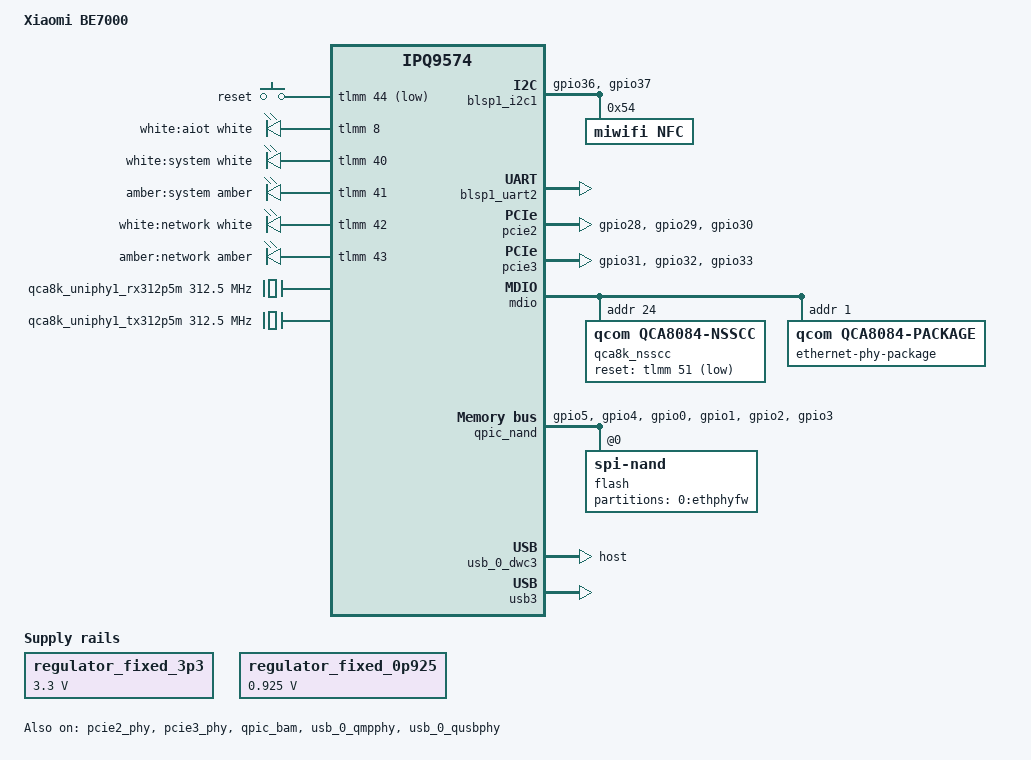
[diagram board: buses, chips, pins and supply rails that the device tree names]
// SPDX-License-Identifier: (GPL-2.0+ OR BSD-3-Clause)

/dts-v1/;


#include <dt-bindings/gpio/gpio.h>
#include <dt-bindings/input/input.h>
#include <dt-bindings/leds/common.h>
#include "ipq9574.dtsi"

#include <dt-bindings/clock/qcom,qca8k-nsscc.h>
#include <dt-bindings/net/qcom,qca808x.h>
#include <dt-bindings/reset/qcom,qca8k-nsscc.h>

/ {
	model = "Xiaomi BE7000";
	compatible = "xiaomi,be7000", "qcom,ipq9574";

	aliases {
		led-boot = &led_system_white;
		led-failsafe = &led_system_amber;
		led-running = &led_system_white;
		led-upgrade = &led_system_amber;

		serial0 = &blsp1_uart2;
	};

	chosen {
		stdout-path = "serial0:115200n8";
	};

	regulator_fixed_3p3: s3300 {
		compatible = "regulator-fixed";
		regulator-min-microvolt = <3300000>;
		regulator-max-microvolt = <3300000>;
		regulator-boot-on;
		regulator-always-on;
		regulator-name = "fixed_3p3";
	};

	regulator_fixed_0p925: s0925 {
		compatible = "regulator-fixed";
		regulator-min-microvolt = <925000>;
		regulator-max-microvolt = <925000>;
		regulator-boot-on;
		regulator-always-on;
		regulator-name = "fixed_0p925";
	};

	gpio-keys {
		compatible = "gpio-keys";
		pinctrl-0 = <&gpio_keys_default>;
		pinctrl-names = "default";

		reset {
			label = "reset";
			linux,code = <KEY_RESTART>;
			gpios = <&tlmm 44 GPIO_ACTIVE_LOW>;
			linux,input-type = <EV_KEY>;
			debounce-interval = <60>;
		};
	};

	leds {
		compatible = "gpio-leds";
		pinctrl-0 = <&gpio_leds_default>;
		pinctrl-names = "default";

		aiot-white {
			label = "white:aiot";
			color = <LED_COLOR_ID_WHITE>;
			gpios = <&tlmm 8 GPIO_ACTIVE_HIGH>;
			default-state = "off";
		};

		led_system_white: system-white {
			label = "white:system";
			color = <LED_COLOR_ID_WHITE>;
			gpios = <&tlmm 40 GPIO_ACTIVE_HIGH>;
			default-state = "off";
		};

		led_system_amber: system-amber {
			label = "amber:system";
			color = <LED_COLOR_ID_AMBER>;
			gpios = <&tlmm 41 GPIO_ACTIVE_HIGH>;
			default-state = "off";
		};

		network-white {
			label = "white:network";
			color = <LED_COLOR_ID_WHITE>;
			gpios = <&tlmm 42 GPIO_ACTIVE_HIGH>;
			default-state = "off";
		};

		network-amber {
			label = "amber:network";
			color = <LED_COLOR_ID_AMBER>;
			gpios = <&tlmm 43 GPIO_ACTIVE_HIGH>;
			default-state = "off";
		};
	};

	clocks {
		qca8k_uniphy1_rx312p5m: qca8k-uniphy1-rx312p5m {
			compatible = "fixed-clock";
			clock-frequency = <312500000>;
			#clock-cells = <0>;
		};

		qca8k_uniphy1_tx312p5m: qca8k-uniphy1-tx312p5m {
			compatible = "fixed-clock";
			clock-frequency = <312500000>;
			#clock-cells = <0>;
		};
	};
};

&blsp1_i2c1 {
	pinctrl-0 = <&i2c1_pins>;
	pinctrl-names = "default";
	status = "okay";

	nfc: nfc@54 {
		compatible = "miwifi,nfc";
		reg = <0x54>;
	};
};

&blsp1_uart2 {
	pinctrl-0 = <&uart2_pins>;
	pinctrl-names = "default";
	status = "okay";
};

&qcom_ppe {
	ethernet-ports {
		#address-cells = <1>;
		#size-cells = <0>;

		port@1 {
			reg = <1>;
			phy-mode = "sgmii";
			label = "lan1";
			phy-handle = <&phy0>;
			pcs-handle = <&pcsuniphy0_ch0>;
			local-mac-address = [00 00 00 00 00 00];
			clocks = <&nsscc NSS_CC_PORT1_MAC_CLK>,
				 <&nsscc NSS_CC_PORT1_RX_CLK>,
				 <&nsscc NSS_CC_PORT1_TX_CLK>;
			clock-names = "port_mac",
				      "port_rx",
				      "port_tx";
			resets = <&nsscc PORT1_MAC_ARES>,
				 <&nsscc PORT1_RX_ARES>,
				 <&nsscc PORT1_TX_ARES>;
			reset-names = "port_mac",
				      "port_rx",
				      "port_tx";
		};

		port@2 {
			reg = <2>;
			phy-mode = "sgmii";
			label = "lan2";
			phy-handle = <&phy1>;
			pcs-handle = <&pcsuniphy0_ch1>;
			local-mac-address = [00 00 00 00 00 00];
			clocks = <&nsscc NSS_CC_PORT2_MAC_CLK>,
				 <&nsscc NSS_CC_PORT2_RX_CLK>,
				 <&nsscc NSS_CC_PORT2_TX_CLK>;
			clock-names = "port_mac",
				      "port_rx",
				      "port_tx";
			resets = <&nsscc PORT2_MAC_ARES>,
				 <&nsscc PORT2_RX_ARES>,
				 <&nsscc PORT2_TX_ARES>;
			reset-names = "port_mac",
				      "port_rx",
				      "port_tx";
		};

		port@3 {
			reg = <3>;
			phy-mode = "sgmii";
			label = "lan3";
			phy-handle = <&phy2>;
			pcs-handle = <&pcsuniphy0_ch2>;
			local-mac-address = [00 00 00 00 00 00];
			clocks = <&nsscc NSS_CC_PORT3_MAC_CLK>,
				 <&nsscc NSS_CC_PORT3_RX_CLK>,
				 <&nsscc NSS_CC_PORT3_TX_CLK>;
			clock-names = "port_mac",
				      "port_rx",
				      "port_tx";
			resets = <&nsscc PORT3_MAC_ARES>,
				 <&nsscc PORT3_RX_ARES>,
				 <&nsscc PORT3_TX_ARES>;
			reset-names = "port_mac",
				      "port_rx",
				      "port_tx";
		};

		port@4 {
			reg = <4>;
			phy-mode = "sgmii";
			label = "lan4";
			phy-handle = <&phy3>;
			pcs-handle = <&pcsuniphy0_ch3>;
			local-mac-address = [00 00 00 00 00 00];
			clocks = <&nsscc NSS_CC_PORT4_MAC_CLK>,
				 <&nsscc NSS_CC_PORT4_RX_CLK>,
				 <&nsscc NSS_CC_PORT4_TX_CLK>;
			clock-names = "port_mac",
				      "port_rx",
				      "port_tx";
			resets = <&nsscc PORT4_MAC_ARES>,
				 <&nsscc PORT4_RX_ARES>,
				 <&nsscc PORT4_TX_ARES>;
			reset-names = "port_mac",
				      "port_rx",
				      "port_tx";
		};
	};
};

&rpm_requests {
	regulators {
		compatible = "qcom,rpm-mp5496-regulators";

		ipq9574_s1: s1 {
		/*
		 * During kernel bootup, the SoC runs at 800MHz with 875mV set by the bootloaders.
		 * During regulator registration, kernel not knowing the initial voltage,
		 * considers it as zero and brings up the regulators with minimum supported voltage.
		 * Update the regulator-min-microvolt with SVS voltage of 725mV so that
		 * the regulators are brought up with 725mV which is sufficient for all the
		 * corner parts to operate at 800MHz
		 */
			regulator-min-microvolt = <725000>;
			regulator-max-microvolt = <1075000>;
		};

		mp5496_l2: l2 {
			regulator-min-microvolt = <1800000>;
			regulator-max-microvolt = <1800000>;
			regulator-always-on;
			regulator-boot-on;
		};

		mp5496_l5: l5 {
			regulator-min-microvolt = <1800000>;
			regulator-max-microvolt = <1800000>;
			regulator-always-on;
			regulator-boot-on;
		};
	};
};

&sleep_clk {
	clock-frequency = <32000>;
};

&pcie2_phy {
	status = "okay";
};

&pcie2 {
	pinctrl-0 = <&pcie2_default>;
	pinctrl-names = "default";

	perst-gpios = <&tlmm 29 GPIO_ACTIVE_LOW>;
	wake-gpios = <&tlmm 30 GPIO_ACTIVE_LOW>;
	status = "okay";
};

&pcie3_phy {
	status = "okay";
};

&pcie3 {
	pinctrl-0 = <&pcie3_default>;
	pinctrl-names = "default";

	perst-gpios = <&tlmm 32 GPIO_ACTIVE_LOW>;
	wake-gpios = <&tlmm 33 GPIO_ACTIVE_LOW>;
	status = "okay";
};

&tlmm {
	i2c1_pins: i2c1-state {
		pins = "gpio36", "gpio37";
		function = "blsp1_i2c";
		drive-strength = <8>;
		bias-disable;
	};

	gpio_keys_default: gpio-keys-default-state {
		pins = "gpio44";
		function = "gpio";
		drive-strength = <8>;
		bias-pull-up;
	};

	gpio_leds_default: gpio-leds-default-state {
		pins = "gpio8", "gpio40", "gpio41", "gpio42", "gpio43";
		function = "gpio";
		drive-strength = <8>;
		bias-pull-up;
	};

	qpic_snand_default_state: qpic-snand-default-state {
		clock-pins {
			pins = "gpio5";
			function = "qspi_clk";
			drive-strength = <8>;
			bias-disable;
		};

		cs-pins {
			pins = "gpio4";
			function = "qspi_cs";
			drive-strength = <8>;
			bias-disable;
		};

		data-pins {
			pins = "gpio0", "gpio1", "gpio2", "gpio3";
			function = "qspi_data";
			drive-strength = <8>;
			bias-disable;
		};
	};

	pcie2_default: pcie2-default-state {
		clkreq-n-pins {
			pins = "gpio28";
			function = "pcie2_clk";
			drive-strength = <6>;
			bias-pull-up;
		};

		perst-n-pins {
			pins = "gpio29";
			function = "gpio";
			drive-strength = <8>;
			bias-pull-down;
			output-low;
		};

		wake-n-pins {
			pins = "gpio30";
			function = "pcie2_wake";
			drive-strength = <6>;
			bias-pull-up;
		};
	};

	pcie3_default: pcie3-default-state {
		clkreq-n-pins {
			pins = "gpio31";
			function = "pcie3_clk";
			drive-strength = <6>;
			bias-pull-up;
		};

		perst-n-pins {
			pins = "gpio32";
			function = "gpio";
			drive-strength = <8>;
			bias-pull-up;
			output-low;
		};

		wake-n-pins {
			pins = "gpio33";
			function = "pcie3_wake";
			drive-strength = <6>;
			bias-pull-up;
		};
	};
};

&mdio {
	status = "okay";
	pinctrl-0 = <&mdio_pins>;
	pinctrl-names = "default";
	phy-reset-gpio = <&tlmm 60 GPIO_ACTIVE_LOW>;

	qca8k_nsscc: clock-controller@18 {
		compatible = "qcom,qca8084-nsscc";
		reg = <0x18>;
		reset-gpios = <&tlmm 51 GPIO_ACTIVE_LOW>;
		clocks = <&cmn_pll ETH0_50MHZ_CLK>,
				<0>,
				<0>,
				<0>,
				<0>,
				<&qca8k_uniphy1_rx312p5m>,
				<&qca8k_uniphy1_tx312p5m>;
		#clock-cells = <1>;
		#reset-cells = <1>;
		#power-domain-cells = <1>;
	};

	ethernet-phy-package@0 {
		#address-cells = <1>;
		#size-cells = <0>;
		compatible = "qcom,qca8084-package";
		reg = <1>;
		clocks = <&qca8k_nsscc NSS_CC_APB_BRIDGE_CLK>,
					<&qca8k_nsscc NSS_CC_AHB_CLK>,
					<&qca8k_nsscc NSS_CC_SEC_CTRL_AHB_CLK>,
					<&qca8k_nsscc NSS_CC_TLMM_CLK>,
					<&qca8k_nsscc NSS_CC_TLMM_AHB_CLK>,
					<&qca8k_nsscc NSS_CC_CNOC_AHB_CLK>,
					<&qca8k_nsscc NSS_CC_MDIO_AHB_CLK>;
		clock-names = "apb_bridge",
						"ahb",
						"sec_ctrl_ahb",
						"tlmm",
						"tlmm_ahb",
						"cnoc_ahb",
						"mdio_ahb";
		resets = <&qca8k_nsscc NSS_CC_GEPHY_FULL_ARES>;
		qcom,phy-addr-fixup = <1 2 3 4 5 6 7>;

		qcom,package-mode = <QCA808X_PCS1_SGMII_MAC_PCS0_SGMII_PHY>;

		phy0: ethernet-phy@1 {
			compatible = "ethernet-phy-id004d.d180";
			reg = <1>;
			clocks = <&qca8k_nsscc NSS_CC_GEPHY0_SYS_CLK>;
			resets = <&qca8k_nsscc NSS_CC_GEPHY0_SYS_ARES>;
		};

		phy1: ethernet-phy@2 {
			compatible = "ethernet-phy-id004d.d180";
			reg = <2>;
			clocks = <&qca8k_nsscc NSS_CC_GEPHY1_SYS_CLK>;
			resets = <&qca8k_nsscc NSS_CC_GEPHY1_SYS_ARES>;
		};

		phy2: ethernet-phy@3 {
			compatible = "ethernet-phy-id004d.d180";
			reg = <3>;
			clocks = <&qca8k_nsscc NSS_CC_GEPHY2_SYS_CLK>;
			resets = <&qca8k_nsscc NSS_CC_GEPHY2_SYS_ARES>;
		};

		phy3: ethernet-phy@4 {
			compatible = "ethernet-phy-id004d.d180";
			reg = <4>;
			clocks = <&qca8k_nsscc NSS_CC_GEPHY3_SYS_CLK>;
			resets = <&qca8k_nsscc NSS_CC_GEPHY3_SYS_ARES>;
		};
	};
};

&qpic_bam {
	status = "okay";
};

&qpic_nand {
	pinctrl-0 = <&qpic_snand_default_state>;
	pinctrl-names = "default";
	status = "okay";

	flash@0 {
		reg = <0>;
		compatible = "spi-nand";
		#address-cells = <1>;
		#size-cells = <1>;
		nand-ecc-strength = <8>;
		nand-ecc-step-size = <512>;
		nand-bus-width = <0x08>;
		nand-ecc-engine = <&qpic_nand>;
		partitions {
			compatible = "qcom,smem-part";
			partition-0-ethphyfw {
				label = "0:ethphyfw";
				read-only;

				nvmem-layout {
					compatible = "fixed-layout";
					#address-cells = <1>;
					#size-cells = <1>;

					aqr_fw: aqr-fw@0 {
						reg = <0x28 0x60002>;
					};
				};
			};
		};
	};
};

&usb_0_dwc3 {
	dr_mode = "host";
};

&usb_0_qmpphy {
	/*vdda-pll-supply = <&mp5496_l5>;*/
	vdda-phy-supply = <&regulator_fixed_0p925>;

	status = "okay";
};

&usb_0_qusbphy {
	vdd-supply = <&regulator_fixed_0p925>;
	/*vdda-pll-supply = <&mp5496_l5>;*/
	vdda-phy-dpdm-supply = <&regulator_fixed_3p3>;

	status = "okay";
};

&usb3 {
	status = "okay";
};

/*
 * The bootstrap pins for the board select the XO clock frequency
 * (48 MHZ or 96 MHZ used for different RDP type board). This setting
 * automatically enables the right dividers, to ensure the reference
 * clock output from WiFi to the CMN PLL is 48 MHZ.
 */
&ref_48mhz_clk {
	clock-div = <1>;
	clock-mult = <1>;
};

/*
 * The frequency of xo_board_clk is fixed to 24 MHZ, which is routed
 * from WiFi output clock 48 MHZ divided by 2.
 */
&xo_board_clk {
	clock-div = <2>;
	clock-mult = <1>;
};

&xo_clk {
	clock-frequency = <48000000>;
};
